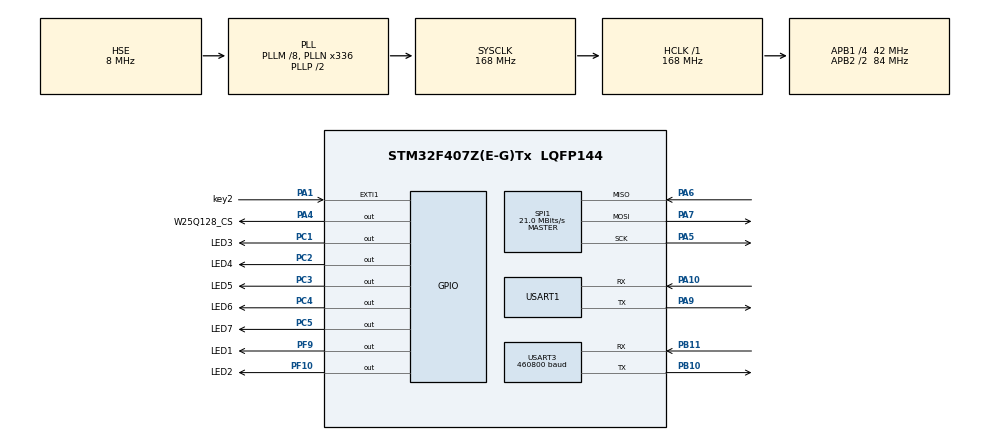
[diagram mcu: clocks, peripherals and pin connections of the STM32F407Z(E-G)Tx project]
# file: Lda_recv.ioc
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Dma.Request0=USART3_RX
Dma.USART3_RX.0.Direction=DMA_PERIPH_TO_MEMORY
Dma.USART3_RX.0.FIFOMode=DMA_FIFOMODE_DISABLE
Dma.USART3_RX.0.Instance=DMA1_Stream1
Dma.USART3_RX.0.MemDataAlignment=DMA_MDATAALIGN_BYTE
Dma.USART3_RX.0.MemInc=DMA_MINC_ENABLE
Dma.USART3_RX.0.Mode=DMA_NORMAL
Dma.USART3_RX.0.PeriphDataAlignment=DMA_PDATAALIGN_BYTE
Dma.USART3_RX.0.PeriphInc=DMA_PINC_DISABLE
Dma.USART3_RX.0.Priority=DMA_PRIORITY_HIGH
Mcu.Family=STM32F4
Mcu.Name=STM32F407Z(E-G)Tx
Mcu.Package=LQFP144
NVIC.DMA1_Stream1_IRQn=true\:2\:0\:true\:false\:true\:true
NVIC.EXTI1_IRQn=true\:1\:0\:true\:false\:true\:true
NVIC.PriorityGroup=NVIC_PRIORITYGROUP_2
NVIC.USART3_IRQn=true\:2\:0\:true\:false\:true\:true
PA1.GPIO_Label=key2
PA1.GPIO_ModeDefaultEXTI=GPIO_MODE_IT_FALLING
PA1.GPIO_PuPd=GPIO_PULLUP
PA1.Signal=GPXTI1
PA10.Mode=Asynchronous
PA10.Signal=USART1_RX
PA4.GPIO_Label=W25Q128_CS
PA4.PinState=GPIO_PIN_SET
PA4.Signal=GPIO_Output
PA5.Mode=Full_Duplex_Master
PA5.Signal=SPI1_SCK
PA6.Mode=Full_Duplex_Master
PA6.Signal=SPI1_MISO
PA7.Mode=Full_Duplex_Master
PA7.Signal=SPI1_MOSI
PA9.Mode=Asynchronous
PA9.Signal=USART1_TX
PB10.Mode=Asynchronous
PB10.Signal=USART3_TX
PB11.Mode=Asynchronous
PB11.Signal=USART3_RX
PC1.GPIO_Label=LED3
PC1.PinState=GPIO_PIN_SET
PC1.Signal=GPIO_Output
PC2.GPIO_Label=LED4
PC2.PinState=GPIO_PIN_SET
PC2.Signal=GPIO_Output
PC3.GPIO_Label=LED5
PC3.PinState=GPIO_PIN_SET
PC3.Signal=GPIO_Output
PC4.GPIO_Label=LED6
PC4.PinState=GPIO_PIN_SET
PC4.Signal=GPIO_Output
PC5.GPIO_Label=LED7
PC5.PinState=GPIO_PIN_SET
PC5.Signal=GPIO_Output
PF10.GPIO_Label=LED2
PF10.PinState=GPIO_PIN_SET
PF10.Signal=GPIO_Output
PF9.GPIO_Label=LED1
PF9.PinState=GPIO_PIN_SET
PF9.Signal=GPIO_Output
PH0-OSC_IN.Mode=HSE-External-Oscillator
PH0-OSC_IN.Signal=RCC_OSC_IN
PH1-OSC_OUT.Mode=HSE-External-Oscillator
PH1-OSC_OUT.Signal=RCC_OSC_OUT
ProjectManager.HeapSize=0x200
ProjectManager.StackSize=0x400
ProjectManager.TargetToolchain=MDK-ARM V5
RCC.48MHZClocksFreq_Value=84000000
RCC.AHBFreq_Value=168000000
RCC.APB1CLKDivider=RCC_HCLK_DIV4
RCC.APB1Freq_Value=42000000
RCC.APB1TimFreq_Value=84000000
RCC.APB2CLKDivider=RCC_HCLK_DIV2
RCC.APB2Freq_Value=84000000
RCC.APB2TimFreq_Value=168000000
RCC.CortexFreq_Value=168000000
RCC.EnbaleCSS=true
RCC.HCLKFreq_Value=168000000
RCC.HSE_VALUE=8000000
RCC.HSI_VALUE=16000000
RCC.LSE_VALUE=32768
RCC.PLLM=8
RCC.PLLN=336
RCC.PLLSourceVirtual=RCC_PLLSOURCE_HSE
RCC.SYSCLKFreq_VALUE=168000000
RCC.SYSCLKSource=RCC_SYSCLKSOURCE_PLLCLK
RCC.VCOOutputFreq_Value=336000000
SPI1.BaudRatePrescaler=SPI_BAUDRATEPRESCALER_4
SPI1.CLKPhase=SPI_PHASE_2EDGE
SPI1.CLKPolarity=SPI_POLARITY_HIGH
SPI1.CalculateBaudRate=21.0 MBits/s
SPI1.Direction=SPI_DIRECTION_2LINES
SPI1.Mode=SPI_MODE_MASTER
SPI1.VirtualType=VM_MASTER
USART1.VirtualMode=VM_ASYNC
USART3.BaudRate=460800
USART3.VirtualMode=VM_ASYNC
board=Lda_recv

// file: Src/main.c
/**
  ******************************************************************************
  * File Name          : main.c
  * Description        : Main program body
  ******************************************************************************
  ** This notice applies to any and all portions of this file
  * that are not between comment pairs USER CODE BEGIN and
  * USER CODE END. Other portions of this file, whether
  * inserted by the user or by software development tools
  * are owned by their respective copyright owners.
  *
  * COPYRIGHT(c) 2017 STMicroelectronics
  *
  * Redistribution and use in source and binary forms, with or without modification,
  * are permitted provided that the following conditions are met:
  *   1. Redistributions of source code must retain the above copyright notice,
  *      this list of conditions and the following disclaimer.
  *   2. Redistributions in binary form must reproduce the above copyright notice,
  *      this list of conditions and the following disclaimer in the documentation
  *      and/or other materials provided with the distribution.
  *   3. Neither the name of STMicroelectronics nor the names of its contributors
  *      may be used to endorse or promote products derived from this software
  *      without specific prior written permission.
  *
  * THIS SOFTWARE IS PROVIDED BY THE COPYRIGHT HOLDERS AND CONTRIBUTORS "AS IS"
  * AND ANY EXPRESS OR IMPLIED WARRANTIES, INCLUDING, BUT NOT LIMITED TO, THE
  * IMPLIED WARRANTIES OF MERCHANTABILITY AND FITNESS FOR A PARTICULAR PURPOSE ARE
  * DISCLAIMED. IN NO EVENT SHALL THE COPYRIGHT HOLDER OR CONTRIBUTORS BE LIABLE
  * FOR ANY DIRECT, INDIRECT, INCIDENTAL, SPECIAL, EXEMPLARY, OR CONSEQUENTIAL
  * DAMAGES (INCLUDING, BUT NOT LIMITED TO, PROCUREMENT OF SUBSTITUTE GOODS OR
  * SERVICES; LOSS OF USE, DATA, OR PROFITS; OR BUSINESS INTERRUPTION) HOWEVER
  * CAUSED AND ON ANY THEORY OF LIABILITY, WHETHER IN CONTRACT, STRICT LIABILITY,
  * OR TORT (INCLUDING NEGLIGENCE OR OTHERWISE) ARISING IN ANY WAY OUT OF THE USE
  * OF THIS SOFTWARE, EVEN IF ADVISED OF THE POSSIBILITY OF SUCH DAMAGE.
  *
  ******************************************************************************
  */

#include "main.h"
#include "stm32f4xx_hal.h"
#include "dma.h"
#include "spi.h"
#include "usart.h"
#include "gpio.h"

/* USER CODE BEGIN Includes */
#include "exti.h"
#include "emg.h"
#include "w25q128.h"
/* USER CODE END Includes */

/* USER CODE BEGIN PV */
/* Private variables ---------------------------------------------------------*/
uint8_t predict[1000]={0};
uint8_t motiondetect=0;

/* USER CODE END PV */

void SystemClock_Config(void);

/* USER CODE BEGIN PFP */
/* Private function prototypes -----------------------------------------------*/

/* USER CODE END PFP */

int main(void)
{

  /* MCU Configuration----------------------------------------------------------*/

  /* Reset of all peripherals, Initializes the Flash interface and the Systick. */

  HAL_Init();

  /* Configure the system clock */
  SystemClock_Config();

  /* Initialize all configured peripherals */
  MX_GPIO_Init();
  MX_DMA_Init();
  MX_USART3_UART_Init();
  MX_SPI1_Init();
  MX_USART1_UART_Init();

  /* USER CODE BEGIN 2 */
	initiate_filter();//滤波器初始化
  HAL_UART_Receive_DMA(&huart3,recv_buff,recv_buff_index_max);
	LED1=0;HAL_Delay(50);LED2=0;HAL_Delay(50);LED3=0;HAL_Delay(50);LED4=0;HAL_Delay(50);LED5=0;HAL_Delay(50);//提示初始化成功
	LED1=1;HAL_Delay(50);LED2=1;HAL_Delay(50);LED3=1;HAL_Delay(50);LED4=1;HAL_Delay(50);LED5=1;HAL_Delay(50);
  /* USER CODE END 2 */

  /* Infinite loop */
  /* USER CODE BEGIN WHILE */
	Extract_from_flash();

  while (1)
  {
  /* USER CODE END WHILE */

  /* USER CODE BEGIN 3 */
	//0.按键检测
    Key_Func();
	//1.接收数据
		if(DMA_recv_complete_flag)
		{
		 HAL_UART_Receive_DMA(&huart3,recv_buff,recv_buff_index_max);	 //此处内存空间还有剩余500byte
		 deal_with_recv_buff();
		 DMA_recv_complete_flag = 0;

		}
	//2.开始训练
    if(trainig_flag ==1)
	    {
		  //trainig_flag=0;在emg.c处LDA_train函数中置零
			if(data_full_flag==1)
			{
				data_full_flag=0;
				if((count_temp+3)%50>=9)//count_temp=6-46, 56-96.............
				{
					feature_extraction();
					for(int i=0;i<32;i++)
					{
					 feat_matrix[window_count][i]=feat[i];
					}
					window_count++;
				}
			 }
			 if(window_count==410&&dur==0)//训练数据收集完成
			 {
				 LDA_train(feat_matrix);
				//数据float32_t LDA_TEMP[32][6];float32_t Bias_Mat[6];存储在w25q128
          Save_to_flash();
					LED1=0;HAL_Delay(50);LED2=0;HAL_Delay(50);LED3=0;HAL_Delay(50);LED4=0;HAL_Delay(50);LED5=0;HAL_Delay(50);//提示存储
					LED1=1;HAL_Delay(50);LED2=1;HAL_Delay(50);LED3=1;HAL_Delay(50);LED4=1;HAL_Delay(50);LED5=1;HAL_Delay(50);
				}
	  }

	//3.开始识别
		if(testing_flag==1)
		{
			if(data_full_flag==1)
			{
				data_full_flag=0;
				feature_extraction();
				predict[count%1000]=LDA_predict(feat);	//LDA_predict中会count++
				motiondetect=predict[count%1000];
				if(count>4&&predict[count%1000]==predict[(count-1)%1000]&&
				predict[(count-1)%1000]==predict[(count-2)%1000]&&
					predict[(count-2)%1000]==predict[(count-3)%1000]&&
					predict[(count-3)%1000]==predict[(count-4)%1000]&&
					predict[(count-4)%1000]==predict[(count-5)%1000])
				{
					switch(motiondetect)
					{
					case 0:
						//USART_SendData(USART1, 'N');
						//模式1
						{LED1=1;LED2=1;LED3=1;LED4=1;LED5=1;LED1=0;LED2=1;LED3=1;LED4=1;LED5=1;}
						break;
					case 1:
						//USART_SendData(USART1, 'P');
						//模式2
						{LED1=1;LED2=1;LED3=1;LED4=1;LED5=1;LED1=1;LED2=0;LED3=1;LED4=1;LED5=1;}
						break;
					case 2:
						//USART_SendData(USART1, 'R');
						//模式3
						{LED1=1;LED2=1;LED3=1;LED4=1;LED5=1;LED1=1;LED2=1;LED3=0;LED4=1;LED5=1;}
						break;
					case 3:
						//USART_SendData(USART1, 'T');
						//模式4
						{LED1=1;LED2=1;LED3=1;LED4=1;LED5=1;LED1=1;LED2=1;LED3=1;LED4=0;LED5=1;}
						break;
					case 4:
						//USART_SendData(USART1, 'B');
						//模式5
						{LED1=1;LED2=1;LED3=1;LED4=1;LED5=1;LED1=1;LED2=1;LED3=1;LED4=1;LED5=0;}
						break;
					case 5:
						//USART_SendData(USART1, '0');
						//模式6
						{LED1=1;LED2=1;LED3=1;LED4=1;LED5=1;LED1=0;LED2=0;LED3=0;LED4=0;LED5=0;}
						break;
					default:
							break;
					 }
				}
				if(count ==409)
				{
//					LED6 =0;//提示数据结束了，等待下一次按键
					count = 0;//防止predict[1000]数组溢出
				}
			}
		}

  }
  /* USER CODE END 3 */

}

/** System Clock Configuration
*/
void SystemClock_Config(void)
{

  RCC_OscInitTypeDef RCC_OscInitStruct;
  RCC_ClkInitTypeDef RCC_ClkInitStruct;

    /**Configure the main internal regulator output voltage
    */
  __HAL_RCC_PWR_CLK_ENABLE();

  __HAL_PWR_VOLTAGESCALING_CONFIG(PWR_REGULATOR_VOLTAGE_SCALE1);

    /**Initializes the CPU, AHB and APB busses clocks
    */
  RCC_OscInitStruct.OscillatorType = RCC_OSCILLATORTYPE_HSE;
  RCC_OscInitStruct.HSEState = RCC_HSE_ON;
  RCC_OscInitStruct.PLL.PLLState = RCC_PLL_ON;
  RCC_OscInitStruct.PLL.PLLSource = RCC_PLLSOURCE_HSE;
  RCC_OscInitStruct.PLL.PLLM = 8;
  RCC_OscInitStruct.PLL.PLLN = 336;
  RCC_OscInitStruct.PLL.PLLP = RCC_PLLP_DIV2;
  RCC_OscInitStruct.PLL.PLLQ = 4;
  if (HAL_RCC_OscConfig(&RCC_OscInitStruct) != HAL_OK)
  {
    _Error_Handler(__FILE__, __LINE__);
  }

    /**Initializes the CPU, AHB and APB busses clocks
    */
  RCC_ClkInitStruct.ClockType = RCC_CLOCKTYPE_HCLK|RCC_CLOCKTYPE_SYSCLK
                              |RCC_CLOCKTYPE_PCLK1|RCC_CLOCKTYPE_PCLK2;
  RCC_ClkInitStruct.SYSCLKSource = RCC_SYSCLKSOURCE_PLLCLK;
  RCC_ClkInitStruct.AHBCLKDivider = RCC_SYSCLK_DIV1;
  RCC_ClkInitStruct.APB1CLKDivider = RCC_HCLK_DIV4;
  RCC_ClkInitStruct.APB2CLKDivider = RCC_HCLK_DIV2;

  if (HAL_RCC_ClockConfig(&RCC_ClkInitStruct, FLASH_LATENCY_5) != HAL_OK)
  {
    _Error_Handler(__FILE__, __LINE__);
  }

    /**Enables the Clock Security System
    */
  HAL_RCC_EnableCSS();

    /**Configure the Systick interrupt time
    */
  HAL_SYSTICK_Config(HAL_RCC_GetHCLKFreq()/1000);

    /**Configure the Systick
    */
  HAL_SYSTICK_CLKSourceConfig(SYSTICK_CLKSOURCE_HCLK);

  /* SysTick_IRQn interrupt configuration */
  HAL_NVIC_SetPriority(SysTick_IRQn, 0, 0);
}

void _Error_Handler(char * file, int line)
{
  while(1)
  {
  }
}

/************************ (C) COPYRIGHT STMicroelectronics *****END OF FILE****/
